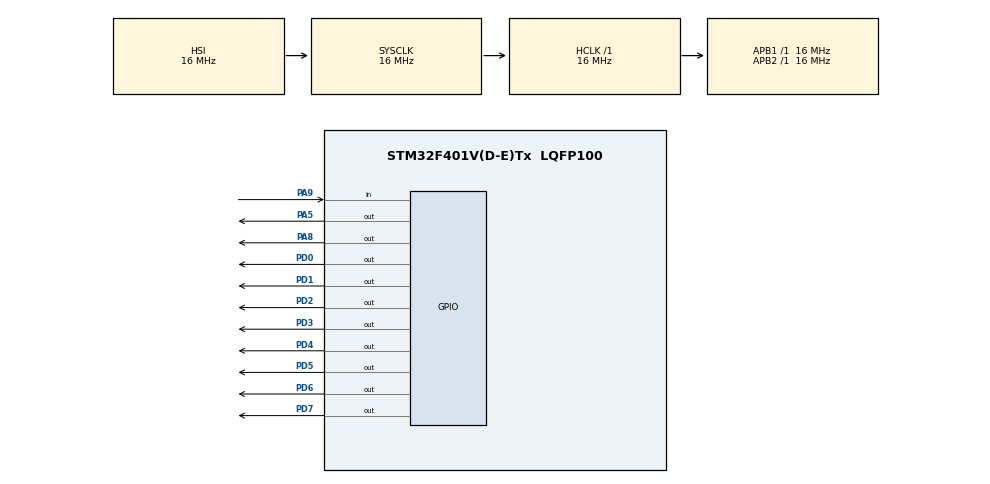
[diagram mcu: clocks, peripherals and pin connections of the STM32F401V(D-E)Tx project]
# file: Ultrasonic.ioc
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Mcu.Family=STM32F4
Mcu.Name=STM32F401V(D-E)Tx
Mcu.Package=LQFP100
NVIC.PriorityGroup=NVIC_PRIORITYGROUP_4
PA5.Signal=GPIO_Output
PA8.Signal=GPIO_Output
PA9.Signal=GPIO_Input
PD0.Signal=GPIO_Output
PD1.Signal=GPIO_Output
PD2.Signal=GPIO_Output
PD3.Signal=GPIO_Output
PD4.Signal=GPIO_Output
PD5.Signal=GPIO_Output
PD6.Signal=GPIO_Output
PD7.Signal=GPIO_Output
PH0\ -\ OSC_IN.Mode=HSE-External-Oscillator
PH0\ -\ OSC_IN.Signal=RCC_OSC_IN
PH1\ -\ OSC_OUT.Mode=HSE-External-Oscillator
PH1\ -\ OSC_OUT.Signal=RCC_OSC_OUT
ProjectManager.HeapSize=0x200
ProjectManager.StackSize=0x400
ProjectManager.TargetToolchain=MDK-ARM V5.27
RCC.AHBFreq_Value=16000000
RCC.APB1Freq_Value=16000000
RCC.APB2Freq_Value=16000000
RCC.CortexFreq_Value=16000000
RCC.HSE_VALUE=25000000
RCC.HSI_VALUE=16000000
RCC.LSE_VALUE=32768
RCC.SYSCLKFreq_VALUE=16000000
RCC.VCOOutputFreq_Value=192000000
TIM4.Period=4199
VP_TIM4_VS_ClockSourceINT.Mode=Internal
board=custom

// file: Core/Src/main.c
/* USER CODE BEGIN Header */
/**
  ******************************************************************************
  * @file           : main.c
  * @brief          : Main program body
  ******************************************************************************
  * @attention
  *
  * <h2><center>&copy; Copyright (c) 2021 STMicroelectronics.
  * All rights reserved.</center></h2>
  *
  * This software component is licensed by ST under BSD 3-Clause license,
  * the "License"; You may not use this file except in compliance with the
  * License. You may obtain a copy of the License at:
  *                        opensource.org/licenses/BSD-3-Clause
  *
  ******************************************************************************
  */
/* USER CODE END Header */
#include "main.h"
#include "lcd_character.h"
#include "stdio.h"
#include "math.h"
#include "stdbool.h"
#define maxdata 100

void reverse(char* str, int len)
{
    int i = 0, j = len - 1, temp;
    while (i < j)
    {
        temp = str[i];
        str[i] = str[j];
        str[j] = temp;
        i++;
        j--;
    }
}
int intToStr(int x, char str[], int d)
{
    int i = 0;
    while (x)
    {
        str[i++] = (x % 10) + '0';

        x = x / 10;
    }
    // If number of digits required is more, then
    // add 0s at the beginning
    while (i < d)
        str[i++] = '0';
    reverse(str, i);
    str[i] = '\0';
    return i;
}
void ftoa(float n, char* res, int afterpoint)
{
    // Extract integer part
    int ipart = (int)n;

    // Extract floating part
    float fpart = n - (float)ipart;

    // convert integer part to string
    int i = intToStr(ipart, res, 0);//0
    // check for display option after point
    if (afterpoint != 0)
    {
        res[i] = '.'; // add dot

        // Get the value of fraction part upto given no.
        // of points after dot. The third parameter
        // is needed to handle cases like 233.007

        fpart = fpart * pow(10, afterpoint);
        intToStr((int)fpart, res + i + 1, afterpoint);
    }
}

#define usTIM TIM4

TIM_HandleTypeDef htim4;

void SystemClock_Config(void);
static void MX_GPIO_Init(void);
static void MX_TIM4_Init(void);

void usDelay(uint32_t usSec);
/* USER CODE BEGIN 0 */
	uint8_t check;
	char buff[50];
	uint32_t sensor_time;
	float distance;
	const float speedofnumber= 0.034/2;

	uint32_t local_time;

uint32_t hcsr04_read()
{
	//	lcd_gotoxy(0,0);
 	//	lcd_puts("hcsr04 sensor");
		uint32_t local_time=0;
		HAL_GPIO_WritePin(GPIOA, GPIO_PIN_8, GPIO_PIN_RESET);
		usDelay(10);
		HAL_GPIO_WritePin(GPIOA, GPIO_PIN_8, GPIO_PIN_SET);
		usDelay(3);

		HAL_GPIO_WritePin(GPIOA, GPIO_PIN_8, GPIO_PIN_RESET);
		usDelay(3);

		while((HAL_GPIO_ReadPin(GPIOA, GPIO_PIN_9))==0);

		while(HAL_GPIO_ReadPin(GPIOA, GPIO_PIN_9))
		{
			local_time++;
			usDelay(3);
		}
		return local_time;

}
/* USER CODE END 0 */

int main(void)
{
  HAL_Init();
  SystemClock_Config();
  MX_GPIO_Init();
  MX_TIM4_Init();
  lcd_init();

  while (1)
  {
		sensor_time = hcsr04_read();
		distance = sensor_time*0.034/2;
		lcd_gotoxy(0,0);
 		lcd_puts("Ultrasonic Sensor");

		lcd_gotoxy(0,1);
 		lcd_puts("value : ");
		ftoa(distance,buff,1);
		lcd_gotoxy(8,3);
 		lcd_puts(buff);

  }

}

void SystemClock_Config(void)
{
  RCC_OscInitTypeDef RCC_OscInitStruct = {0};
  RCC_ClkInitTypeDef RCC_ClkInitStruct = {0};

  /** Configure the main internal regulator output voltage
  */
  __HAL_RCC_PWR_CLK_ENABLE();
  __HAL_PWR_VOLTAGESCALING_CONFIG(PWR_REGULATOR_VOLTAGE_SCALE2);
  /** Initializes the RCC Oscillators according to the specified parameters
  * in the RCC_OscInitTypeDef structure.
  */
  RCC_OscInitStruct.OscillatorType = RCC_OSCILLATORTYPE_HSI;
  RCC_OscInitStruct.HSIState = RCC_HSI_ON;
  RCC_OscInitStruct.HSICalibrationValue = RCC_HSICALIBRATION_DEFAULT;
  RCC_OscInitStruct.PLL.PLLState = RCC_PLL_NONE;
  if (HAL_RCC_OscConfig(&RCC_OscInitStruct) != HAL_OK)
  {
    Error_Handler();
  }
  /** Initializes the CPU, AHB and APB buses clocks
  */
  RCC_ClkInitStruct.ClockType = RCC_CLOCKTYPE_HCLK|RCC_CLOCKTYPE_SYSCLK
                              |RCC_CLOCKTYPE_PCLK1|RCC_CLOCKTYPE_PCLK2;
  RCC_ClkInitStruct.SYSCLKSource = RCC_SYSCLKSOURCE_HSI;
  RCC_ClkInitStruct.AHBCLKDivider = RCC_SYSCLK_DIV1;
  RCC_ClkInitStruct.APB1CLKDivider = RCC_HCLK_DIV1;
  RCC_ClkInitStruct.APB2CLKDivider = RCC_HCLK_DIV1;

  if (HAL_RCC_ClockConfig(&RCC_ClkInitStruct, FLASH_LATENCY_0) != HAL_OK)
  {
    Error_Handler();
  }
}

static void MX_TIM4_Init(void)
{

  TIM_ClockConfigTypeDef sClockSourceConfig = {0};
  TIM_MasterConfigTypeDef sMasterConfig = {0};

  htim4.Instance = TIM4;
  htim4.Init.Prescaler = 0;
  htim4.Init.CounterMode = TIM_COUNTERMODE_UP;
  htim4.Init.Period = 4199;
  htim4.Init.ClockDivision = TIM_CLOCKDIVISION_DIV1;
  htim4.Init.AutoReloadPreload = TIM_AUTORELOAD_PRELOAD_DISABLE;
  if (HAL_TIM_Base_Init(&htim4) != HAL_OK)
  {
    Error_Handler();
  }
  sClockSourceConfig.ClockSource = TIM_CLOCKSOURCE_INTERNAL;
  if (HAL_TIM_ConfigClockSource(&htim4, &sClockSourceConfig) != HAL_OK)
  {
    Error_Handler();
  }
  sMasterConfig.MasterOutputTrigger = TIM_TRGO_RESET;
  sMasterConfig.MasterSlaveMode = TIM_MASTERSLAVEMODE_DISABLE;
  if (HAL_TIMEx_MasterConfigSynchronization(&htim4, &sMasterConfig) != HAL_OK)
  {
    Error_Handler();
  }

}

static void MX_GPIO_Init(void)
{
  GPIO_InitTypeDef GPIO_InitStruct = {0};

  /* GPIO Ports Clock Enable */
  __HAL_RCC_GPIOH_CLK_ENABLE();
  __HAL_RCC_GPIOA_CLK_ENABLE();
  __HAL_RCC_GPIOD_CLK_ENABLE();

  /*Configure GPIO pin Output Level */
  HAL_GPIO_WritePin(GPIOA, GPIO_PIN_5|GPIO_PIN_8, GPIO_PIN_RESET);

  /*Configure GPIO pin Output Level */
  HAL_GPIO_WritePin(GPIOD, GPIO_PIN_0|GPIO_PIN_1|GPIO_PIN_2|GPIO_PIN_3
                          |GPIO_PIN_4|GPIO_PIN_5|GPIO_PIN_6|GPIO_PIN_7, GPIO_PIN_RESET);

  /*Configure GPIO pins : PA5 PA8 */
  GPIO_InitStruct.Pin = GPIO_PIN_5|GPIO_PIN_8;
  GPIO_InitStruct.Mode = GPIO_MODE_OUTPUT_PP;
  GPIO_InitStruct.Pull = GPIO_NOPULL;
  GPIO_InitStruct.Speed = GPIO_SPEED_FREQ_LOW;
  HAL_GPIO_Init(GPIOA, &GPIO_InitStruct);

  /*Configure GPIO pin : PA9 */
  GPIO_InitStruct.Pin = GPIO_PIN_9;
  GPIO_InitStruct.Mode = GPIO_MODE_INPUT;
  GPIO_InitStruct.Pull = GPIO_NOPULL;
  HAL_GPIO_Init(GPIOA, &GPIO_InitStruct);

  /*Configure GPIO pins : PD0 PD1 PD2 PD3
                           PD4 PD5 PD6 PD7 */
  GPIO_InitStruct.Pin = GPIO_PIN_0|GPIO_PIN_1|GPIO_PIN_2|GPIO_PIN_3
                          |GPIO_PIN_4|GPIO_PIN_5|GPIO_PIN_6|GPIO_PIN_7;
  GPIO_InitStruct.Mode = GPIO_MODE_OUTPUT_PP;
  GPIO_InitStruct.Pull = GPIO_NOPULL;
  GPIO_InitStruct.Speed = GPIO_SPEED_FREQ_LOW;
  HAL_GPIO_Init(GPIOD, &GPIO_InitStruct);

}

/* USER CODE BEGIN 4 */
void usDelay(uint32_t usSec)
{
	if(usSec<2)usSec=2;
	usTIM->ARR = usSec-1;
	usTIM->EGR =1;
	usTIM->SR &=1;
	usTIM->CR1 |=1;
	while((usTIM->SR & 0x0001)!=1)
	usTIM->SR&=~(0x0001);
}

/* USER CODE END 4 */

void Error_Handler(void)
{
  __disable_irq();
  while (1)
  {
  }
}

/************************ (C) COPYRIGHT STMicroelectronics *****END OF FILE****/
